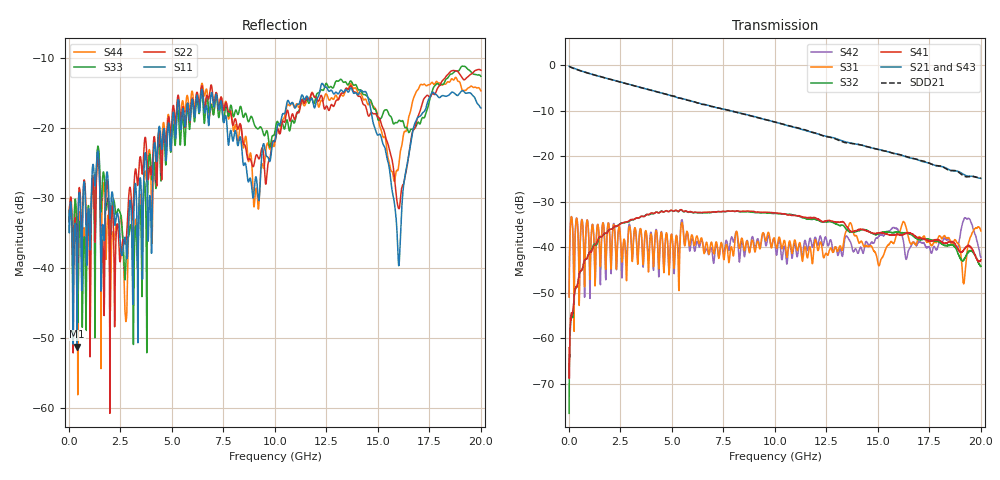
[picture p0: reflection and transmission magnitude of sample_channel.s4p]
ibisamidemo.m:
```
%% IBIS AMI channel simulation demo

%% matlab initialization and IBIS AMI configuration
addpath('C:\Users\Jianhua\Documents\MATLAB\_develop\_jz_SNP_importer');
amimodel_path = 'C:\Users\Jianhua\Documents\MATLAB\_develop\_chasim\LSI_OPUS_SERDES_16GFC\data\SerDes_Models';
addpath(amimodel_path);
tx_dll_filename = 'G40_14p5G_LR_Tx_1p65_tt.dll';
rx_dll_filename = 'G40_14p5G_LR_Rx.dll';
tx_ami_filename = 'G40_14p5G_LR_Tx.ami';
rx_ami_filename = 'G40_14p5G_LR_Rx.ami';

tx_dll_file = fullfile(amimodel_path, tx_dll_filename);
rx_dll_file = fullfile(amimodel_path, rx_dll_filename);
tx_ami_file = fullfile(amimodel_path, tx_ami_filename);
rx_ami_file = fullfile(amimodel_path, rx_ami_filename);


%% setup channel parameters
bit_rate = 14.5e9;         %bits-per-second
bit_time = 1/bit_rate;   % second
samples_per_bit = 64;  
sampling_rate = bit_rate * samples_per_bit; 
sample_step = bit_time / samples_per_bit;

%% generate bit sequence
seq_length = 1e3;
bit_sequence = prbs1(seq_length);

%% binary NRZ modulation with level shifting
[mod_out,tstep, e1,em1] = bnrzmod(bit_sequence, bit_rate, samples_per_bit);

%% impulse response of channel

channel_s4p_file = 'C:\Users\Jianhua\Documents\MATLAB\_develop\_chasim\LSI_OPUS_SERDES_16GFC\data\Channel_Models\sample_channel.s4p';
channel_s4p_struct = snpimport(channel_s4p_file);
channel_s4p_struct0 = snpinsertdc(channel_s4p_struct);

flist = channel_s4p_struct0.freqlist;
nfp = length(flist);   % number of frequency points
s12 = reshape( s4pstruct0.data(1,2,:), nfp, 1) ;

[tlisti, impresi, tstepi, tspani, err, errmsg] = spimpres(flist, s12);
tinterp = 0:sample_step:(tspani-tstep);
[channel_impres, e2, em2] = wavesample(tlisti, impresi, tinterp);




%% channel initialization
tx_ami_param_in = getAMI( tx_ami_file );
rx_ami_param_in = getAMI( rx_ami_file );

% calls the amiinit function: 
% [ tx_impreso, tx_amiparamo, tx_mhdl, tx_initmsg, et, emt ] = ...
%     amiinit_1207a(tx_dll_file, channel_impres, sample_step, bit_time, tx_ami_param_in);
[ tx_impreso, tx_amiparamo, tx_mhdl, tx_initmsg, et, emt ] = ...
    amiinit_1207a(tx_dll_file, impresi, tstepi, 100*tstepi, tx_ami_param_in);
pausehere=1;
```
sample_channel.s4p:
! FILE: sample_channel.s4p
# MHz S MA R 50.00
! FREQ  S11  S12  S13  S14
!  S21  S22  S23  S24
!  S31  S32  S33  S34
!  S41  S42  S43  S44
!  MAG  ANG  MAG  ANG  MAG  ANG  MAG  ANG
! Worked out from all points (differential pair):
!   2000 points, 10 MHz to 20 GHz, reference 50 ohm
!   strongest paths, dB at 10 MHz, 5.01 GHz, 10.01 GHz, 15.01 GHz, 20 GHz:
!     S21: -0.2, -6.7, -12.5, -18.4, -24.8
!     S43: -0.3, -6.7, -12.5, -18.6, -24.8
!     S41: -62.1, -31.9, -32.4, -36.8, -42.7
!     S32: -76.5, -31.9, -32.5, -37.0, -44.2
!     S31: -50.9, -37.6, -38.6, -43.6, -36.4
!     S42: -50.8, -37.7, -39.5, -37.8, -42.2
!   taken as a pair (ports 1,3 in; 2,4 out), SDD21 dB: -0.2, -6.7, -12.5, -18.5, -24.8
!   lowest |S11| = -51.3 dB at 400 MHz (marker M1), VSWR 1.01, Z = 50 - j0.269 ohm
!   |S11| at or under -10 dB: start of sweep to end of sweep
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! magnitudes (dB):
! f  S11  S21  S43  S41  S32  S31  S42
! 10 MHz  -31.8  -0.2  -0.3  -62.1  -76.5  -50.9  -50.8
! 400 MHz  -51.3  -0.9  -1.0  -48.5  -48.5  -34.0  -34.0
! 20 GHz  -17.2  -24.8  -24.8  -42.7  -44.2  -36.4  -42.2
